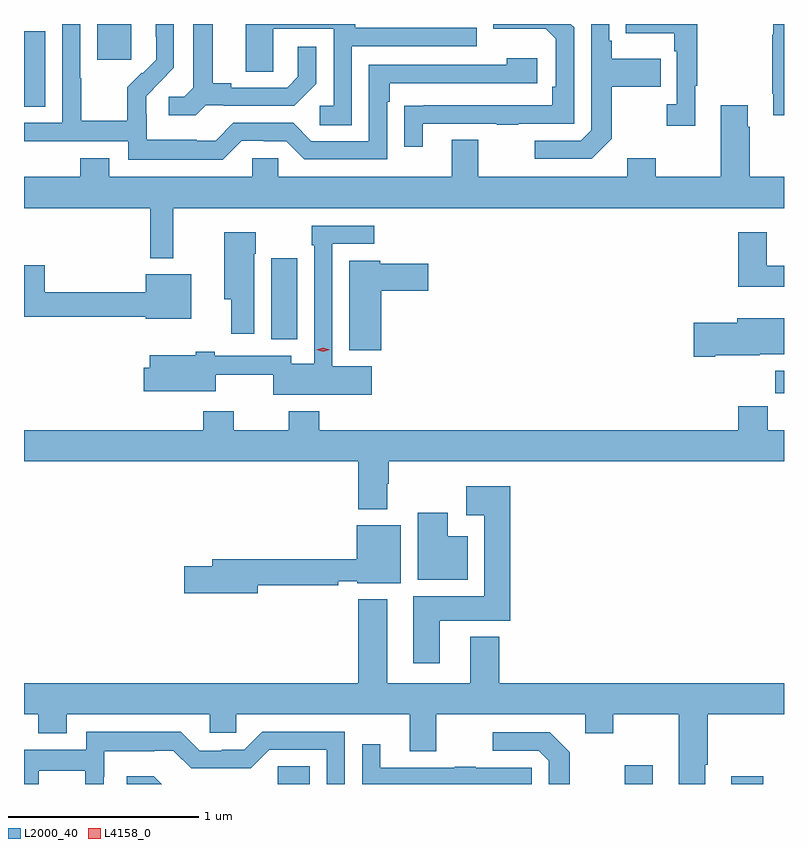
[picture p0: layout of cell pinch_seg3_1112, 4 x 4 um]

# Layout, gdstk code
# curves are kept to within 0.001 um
import gdstk
lib = gdstk.Library(unit=1e-6, precision=1e-09)
def R(c, l, rs):  # rectangles x0, y0, x1, y1
    for r in rs: c.add(gdstk.rectangle(r[:2], r[2:], *l))
def P(c, l, *ps):  # polygons
    for p in ps: c.add(gdstk.Polygon(p, *l))
L2000_40 = (2000, 40)
L4158_0 = (4158, 0)

pinch_seg3_1112 = lib.new_cell('pinch_seg3_1112')
R(pinch_seg3_1112, L2000_40, [(229.986,743.173,230.154,743.267), (231.813,743.173,231.961,743.272), (232.373,743.173,232.541,743.215), (232.606,745.23,232.651,745.348), (229.952,745.513,230.089,745.939), (228.651,746.737,228.763,747.134), (229.037,746.985,229.216,747.173)])
P(pinch_seg3_1112, L2000_40, [(229.608,746.745),(229.702,746.745),(229.702,746.742),(230.074,746.742),(230.19,746.858),(230.19,747.052),(230.093,747.052),(230.093,746.895),(230.036,746.838),(229.741,746.838),(229.741,746.861),(229.645,746.861),(229.645,747.173),(229.541,747.173),(229.541,746.837),(229.494,746.79),(229.413,746.79),(229.413,746.693),(229.556,746.693)],
  [(232.651,747.173),(232.595,747.173),(232.595,747.117),(232.588,747.117),(232.588,746.806),(232.595,746.806),(232.595,746.694),(232.651,746.694)],
  [(231.745,746.569),(231.745,746.842),(232.001,746.842),(232.001,746.989),(231.745,746.989),(231.745,747.085),(231.732,747.085),(231.732,747.173),(231.636,747.173),(231.636,746.613),(231.582,746.559),(231.339,746.559),(231.339,746.463),(231.639,746.463)],
  [(232.183,746.849),(232.195,746.849),(232.195,747.173),(231.817,747.173),(231.817,747.125),(232.074,747.125),(232.074,747.029),(232.086,747.029),(232.086,746.75),(232.035,746.75),(232.035,746.637),(232.183,746.637)],
  [(230.376,747.057),(231.035,747.057),(231.035,747.153),(230.395,747.153),(230.395,747.173),(229.817,747.173),(229.817,746.923),(229.962,746.923),(229.962,747.147),(230.28,747.147),(230.28,746.742),(230.208,746.742),(230.208,746.641),(230.376,746.641)],
  [(230.749,746.649),(231.139,746.649),(231.139,746.644),(231.251,746.644),(231.251,746.649),(231.546,746.649),(231.546,747.156),(231.529,747.173),(231.12,747.173),(231.12,747.149),(231.397,747.149),(231.45,747.096),(231.45,746.842),(231.43,746.842),(231.43,746.745),(230.653,746.744),(230.653,746.526),(230.749,746.526)],
  [(229.797,746.559),(229.913,746.559),(229.913,746.556),(230.031,746.556),(230.127,746.46),(230.562,746.46),(230.562,746.765),(230.575,746.765),(230.575,746.862),(231.352,746.862),(231.352,746.992),(231.191,746.992),(231.191,746.958),(230.466,746.958),(230.466,746.556),(230.163,746.556),(230.067,746.652),(229.752,746.652),(229.659,746.559),(229.559,746.559),(229.559,746.563),(229.296,746.563),(229.296,746.697),(229.294,746.697),(229.294,746.794),(229.44,746.942),(229.44,747.173),(229.344,747.173),(229.344,747.106),(229.346,747.106),(229.346,746.984),(229.275,746.913),(229.272,746.916),(229.195,746.839),(229.195,746.665),(228.951,746.665),(228.951,746.888),(228.948,746.888),(228.948,747.173),(228.852,747.173),(228.852,746.652),(228.651,746.652),(228.651,746.556),(229.2,746.556),(229.2,746.459),(229.697,746.459)],
  [(229.436,746.204),(232.651,746.204),(232.651,746.368),(232.472,746.368),(232.472,746.633),(232.459,746.633),(232.459,746.746),(232.319,746.746),(232.319,746.368),(231.975,746.368),(231.975,746.467),(231.827,746.467),(231.827,746.368),(231.043,746.368),(231.043,746.563),(230.903,746.563),(230.903,746.368),(229.989,746.368),(229.989,746.466),(229.851,746.466),(229.851,746.368),(229.099,746.368),(229.099,746.467),(228.947,746.467),(228.947,746.368),(228.651,746.368),(228.651,746.204),(229.315,746.204),(229.315,745.941),(229.436,745.941)],
  [(230.482,745.372),(230.274,745.372),(230.274,746.016),(230.494,746.016),(230.494,746.112),(230.166,746.112),(230.166,746.009),(230.178,746.009),(230.178,745.384),(230.058,745.384),(230.058,745.428),(229.656,745.428),(229.656,745.448),(229.556,745.448),(229.556,745.429),(229.313,745.429),(229.313,745.363),(229.28,745.363),(229.28,745.241),(229.66,745.241),(229.66,745.327),(229.962,745.327),(229.962,745.223),(230.482,745.223)],
  [(232.651,745.9),(232.561,745.9),(232.561,746.077),(232.409,746.077),(232.409,745.79),(232.651,745.79)],
  [(229.864,745.964),(229.872,745.964),(229.872,746.077),(229.706,746.077),(229.706,745.724),(229.742,745.724),(229.742,745.542),(229.864,745.542)],
  [(230.53,745.769),(230.779,745.769),(230.779,745.911),(230.526,745.911),(230.526,745.927),(230.363,745.927),(230.363,745.457),(230.53,745.457)],
  [(229.531,745.855),(229.292,745.855),(229.292,745.762),(228.761,745.762),(228.761,745.903),(228.651,745.903),(228.651,745.633),(229.292,745.633),(229.292,745.622),(229.531,745.622)],
  [(232.288,745.43),(232.524,745.43),(232.524,745.436),(232.651,745.436),(232.651,745.624),(232.406,745.624),(232.406,745.601),(232.176,745.601),(232.176,745.423),(232.288,745.423)],
  [(230.563,744.752),(230.571,744.752),(230.571,744.872),(232.651,744.872),(232.651,745.036),(232.565,745.036),(232.565,745.16),(232.409,745.16),(232.409,745.036),(230.204,745.036),(230.204,745.135),(230.044,745.135),(230.044,745.036),(229.755,745.036),(229.755,745.135),(229.595,745.135),(229.595,745.036),(228.651,745.036),(228.651,744.872),(230.411,744.872),(230.411,744.62),(230.563,744.62)],
  [(230.839,744.032),(231.209,744.032),(231.209,744.739),(230.979,744.739),(230.979,744.587),(231.074,744.587),(231.074,744.16),(230.699,744.16),(230.699,743.808),(230.839,743.808)],
  [(230.986,744.478),(230.881,744.478),(230.881,744.601),(230.723,744.601),(230.723,744.248),(230.986,744.248)],
  [(229.882,744.22),(230.306,744.22),(230.306,744.24),(230.406,744.24),(230.406,744.23),(230.635,744.23),(230.635,744.535),(230.402,744.535),(230.402,744.356),(229.643,744.356),(229.643,744.32),(229.494,744.32),(229.494,744.178),(229.882,744.178)],
  [(232.237,743.275),(232.25,743.275),(232.25,743.54),(232.651,743.54),(232.651,743.704),(231.152,743.704),(231.152,743.947),(230.999,743.947),(230.999,743.704),(230.563,743.704),(230.563,744.145),(230.411,744.145),(230.411,743.704),(228.651,743.704),(228.651,743.54),(228.725,743.54),(228.725,743.441),(228.877,743.441),(228.877,743.54),(229.629,743.54),(229.629,743.442),(229.767,743.442),(229.767,743.54),(230.681,743.54),(230.681,743.346),(230.821,743.346),(230.821,743.54),(231.605,743.54),(231.605,743.441),(231.753,743.441),(231.753,743.54),(232.097,743.54),(232.097,743.173),(232.237,743.173)],
  [(228.729,743.244),(228.973,743.244),(228.973,743.173),(229.072,743.173),(229.072,743.211),(229.074,743.211),(229.074,743.345),(229.337,743.345),(229.337,743.349),(229.437,743.349),(229.53,743.256),(229.845,743.256),(229.941,743.352),(230.244,743.352),(230.244,743.173),(230.34,743.173),(230.34,743.448),(229.905,743.448),(229.809,743.352),(229.691,743.352),(229.691,743.349),(229.575,743.349),(229.475,743.449),(228.978,743.449),(228.978,743.352),(228.651,743.352),(228.651,743.173),(228.729,743.173)],
  [(231.523,743.339),(231.417,743.445),(231.117,743.445),(231.117,743.349),(231.36,743.349),(231.414,743.295),(231.414,743.173),(231.523,743.173)],
  [(231.324,743.259),(231.029,743.259),(231.029,743.264),(230.917,743.264),(230.917,743.259),(230.527,743.259),(230.527,743.383),(230.431,743.383),(230.431,743.173),(231.324,743.173)],
  [(229.334,743.215),(229.191,743.215),(229.191,743.173),(229.376,743.173)])
P(pinch_seg3_1112, L4158_0, [(230.225,745.448),(230.19,745.458),(230.19,745.458),(230.19,745.458),(230.225,745.468),(230.26,745.458),(230.26,745.458),(230.26,745.458)])

lib.write_gds('pinch_seg3_1112.gds')
